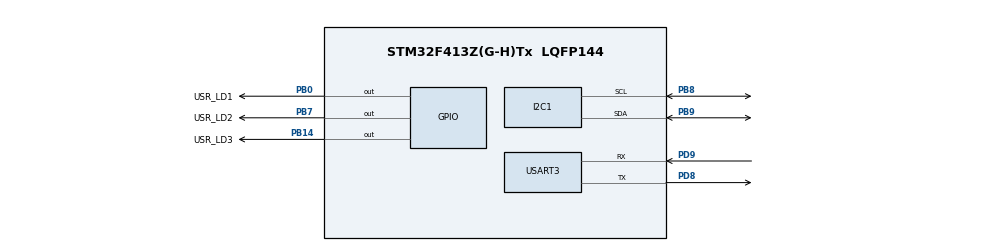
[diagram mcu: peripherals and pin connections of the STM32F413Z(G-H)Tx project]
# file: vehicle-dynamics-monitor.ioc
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Mcu.Family=STM32F4
Mcu.Name=STM32F413Z(G-H)Tx
Mcu.Package=LQFP144
NVIC.PriorityGroup=NVIC_PRIORITYGROUP_4
PB0.GPIO_Label=USR_LD1
PB0.Signal=GPIO_Output
PB14.GPIO_Label=USR_LD3
PB14.Signal=GPIO_Output
PB7.GPIO_Label=USR_LD2
PB7.Signal=GPIO_Output
PB8.Mode=I2C
PB8.Signal=I2C1_SCL
PB9.Mode=I2C
PB9.Signal=I2C1_SDA
PD8.Mode=Asynchronous
PD8.Signal=USART3_TX
PD9.Mode=Asynchronous
PD9.Signal=USART3_RX
ProjectManager.HeapSize=0x200
ProjectManager.StackSize=0x400
ProjectManager.TargetToolchain=CMake
RCC.CortexFreq_Value=16000000
RCC.USBFreq_Value=96000000
RCC.VCOOutputFreq_Value=192000000
USART3.VirtualMode=VM_ASYNC
board=custom

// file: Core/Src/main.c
/* USER CODE BEGIN Header */
/**
  ******************************************************************************
  * @file           : main.c
  * @brief          : Main program body
  ******************************************************************************
  * @attention
  *
  * Copyright (c) 2026 STMicroelectronics.
  * All rights reserved.
  *
  * This software is licensed under terms that can be found in the LICENSE file
  * in the root directory of this software component.
  * If no LICENSE file comes with this software, it is provided AS-IS.
  *
  ******************************************************************************
  */
/* USER CODE END Header */
#include "main.h"

/* USER CODE BEGIN Includes */
#include "mpu6050.h"
#include "vehicle_dynamics.h"
#include "uart_logger.h"
#include <stdio.h>
#include <string.h>

/* USER CODE END Includes */

I2C_HandleTypeDef hi2c1;

UART_HandleTypeDef huart3;

void SystemClock_Config(void);
static void MX_GPIO_Init(void);
static void MX_I2C1_Init(void);
static void MX_USART3_UART_Init(void);

/* USER CODE BEGIN 0 */
/* Integration layer: mpu6050 (sensor HAL) → vehicle_dynamics (pure logic) → uart_logger (output) */
/* USER CODE END 0 */

int main(void)
{

  /* MCU Configuration--------------------------------------------------------*/

  /* Reset of all peripherals, Initializes the Flash interface and the Systick. */
  HAL_Init();

  /* Configure the system clock */
  SystemClock_Config();

  /* Initialize all configured peripherals */
  MX_GPIO_Init();
  MX_I2C1_Init();
  MX_USART3_UART_Init();
  /* USER CODE BEGIN 2 */
  HAL_StatusTypeDef mpu_status;
  uint32_t last_mpu_read = 0;
  DebounceState debounce_state = {EVENT_NONE, 0U};

  mpu_status = mpu6050_wake(&hi2c1);
  if (mpu_status != HAL_OK)
  {
      uint32_t err = HAL_I2C_GetError(&hi2c1);
      char msg[48];
      // char *msg = "MPU6050: wake FAILED\r\n";
      snprintf(msg, sizeof(msg), "MPU6050: wake FAILED err=0x%02lX\r\n", err);
      HAL_UART_Transmit(&huart3, (uint8_t *)msg, strlen(msg), HAL_MAX_DELAY);
  }

  HAL_Delay(100U); /* allow sensor to stabilise after wake */

  mpu_status = mpu6050_verify_identity(&hi2c1);
  if (mpu_status == HAL_OK)
  {
      char *msg = "MPU6050: WHO_AM_I OK (0x68)\r\n";
      HAL_UART_Transmit(&huart3, (uint8_t *)msg, strlen(msg), HAL_MAX_DELAY);
  }
  else
  {
      char *msg = "MPU6050: WHO_AM_I FAILED\r\n";
      HAL_UART_Transmit(&huart3, (uint8_t *)msg, strlen(msg), HAL_MAX_DELAY);
  }

  mpu6050_configure_accel_range(&hi2c1);   /* ACCEL_CONFIG: ±4g */
  mpu6050_configure_sample_rate(&hi2c1, MPU6050_SMPLRT_100HZ); /* 100 Hz */

  /* USER CODE END 2 */

  /* Infinite loop */
  while (1)
  {
      uint8_t raw[MPU6050_ACCEL_RAW_BYTES] = {0U};

      if((HAL_GetTick() - last_mpu_read) >= 1000U)
      {
        mpu_status = mpu6050_read_accel_raw(&hi2c1, raw, sizeof(raw));
        if (mpu_status == HAL_OK)
        {
            /* x=longitudinal (fwd/back), y=lateral (left/right), z=vertical */
            float x_g = raw_to_gforce(reconstruct_raw_value(raw[0], raw[1]), MPU6050_SENSITIVITY_4G);
            float y_g = raw_to_gforce(reconstruct_raw_value(raw[2], raw[3]), MPU6050_SENSITIVITY_4G);
            float z_g = raw_to_gforce(reconstruct_raw_value(raw[4], raw[5]), MPU6050_SENSITIVITY_4G);

            uart_log_accel(&huart3, x_g, y_g, z_g);

            VehicleEvent raw_event     = evaluate_dynamics(x_g, y_g, z_g);
            VehicleEvent confirm_event = debounce_event(&debounce_state, raw_event, DEBOUNCE_HOLD_COUNT);
            uart_log_event(&huart3, confirm_event);
        }
        else
        {
            char err_buf[] = "ACCEL READ FAILED\r\n";
            HAL_UART_Transmit(&huart3, (uint8_t *)err_buf, sizeof(err_buf) - 1U, HAL_MAX_DELAY);
        }

        HAL_GPIO_TogglePin(USR_LD1_GPIO_Port, USR_LD1_Pin);
        last_mpu_read = HAL_GetTick();
      }
  }
}

void SystemClock_Config(void)
{
  RCC_OscInitTypeDef RCC_OscInitStruct = {0};
  RCC_ClkInitTypeDef RCC_ClkInitStruct = {0};

  /** Configure the main internal regulator output voltage
  */
  __HAL_RCC_PWR_CLK_ENABLE();
  __HAL_PWR_VOLTAGESCALING_CONFIG(PWR_REGULATOR_VOLTAGE_SCALE1);

  /** Initializes the RCC Oscillators according to the specified parameters
  * in the RCC_OscInitTypeDef structure.
  */
  RCC_OscInitStruct.OscillatorType = RCC_OSCILLATORTYPE_HSI;
  RCC_OscInitStruct.HSIState = RCC_HSI_ON;
  RCC_OscInitStruct.HSICalibrationValue = RCC_HSICALIBRATION_DEFAULT;
  RCC_OscInitStruct.PLL.PLLState = RCC_PLL_NONE;
  if (HAL_RCC_OscConfig(&RCC_OscInitStruct) != HAL_OK)
  {
    Error_Handler();
  }

  /** Initializes the CPU, AHB and APB buses clocks
  */
  RCC_ClkInitStruct.ClockType = RCC_CLOCKTYPE_HCLK|RCC_CLOCKTYPE_SYSCLK
                              |RCC_CLOCKTYPE_PCLK1|RCC_CLOCKTYPE_PCLK2;
  RCC_ClkInitStruct.SYSCLKSource = RCC_SYSCLKSOURCE_HSI;
  RCC_ClkInitStruct.AHBCLKDivider = RCC_SYSCLK_DIV1;
  RCC_ClkInitStruct.APB1CLKDivider = RCC_HCLK_DIV1;
  RCC_ClkInitStruct.APB2CLKDivider = RCC_HCLK_DIV1;

  if (HAL_RCC_ClockConfig(&RCC_ClkInitStruct, FLASH_LATENCY_0) != HAL_OK)
  {
    Error_Handler();
  }
}

static void MX_I2C1_Init(void)
{

  hi2c1.Instance = I2C1;
  hi2c1.Init.ClockSpeed = 100000;
  hi2c1.Init.DutyCycle = I2C_DUTYCYCLE_2;
  hi2c1.Init.OwnAddress1 = 0;
  hi2c1.Init.AddressingMode = I2C_ADDRESSINGMODE_7BIT;
  hi2c1.Init.DualAddressMode = I2C_DUALADDRESS_DISABLE;
  hi2c1.Init.OwnAddress2 = 0;
  hi2c1.Init.GeneralCallMode = I2C_GENERALCALL_DISABLE;
  hi2c1.Init.NoStretchMode = I2C_NOSTRETCH_DISABLE;
  if (HAL_I2C_Init(&hi2c1) != HAL_OK)
  {
    Error_Handler();
  }

}

static void MX_USART3_UART_Init(void)
{

  huart3.Instance = USART3;
  huart3.Init.BaudRate = 115200;
  huart3.Init.WordLength = UART_WORDLENGTH_8B;
  huart3.Init.StopBits = UART_STOPBITS_1;
  huart3.Init.Parity = UART_PARITY_NONE;
  huart3.Init.Mode = UART_MODE_TX_RX;
  huart3.Init.HwFlowCtl = UART_HWCONTROL_NONE;
  huart3.Init.OverSampling = UART_OVERSAMPLING_16;
  if (HAL_UART_Init(&huart3) != HAL_OK)
  {
    Error_Handler();
  }

}

static void MX_GPIO_Init(void)
{
  GPIO_InitTypeDef GPIO_InitStruct = {0};

  /* GPIO Ports Clock Enable */
  __HAL_RCC_GPIOB_CLK_ENABLE();
  __HAL_RCC_GPIOD_CLK_ENABLE();

  /*Configure GPIO pin Output Level */
  HAL_GPIO_WritePin(GPIOB, USR_LD1_Pin|USR_LD3_Pin|USR_LD2_Pin, GPIO_PIN_RESET);

  /*Configure GPIO pins : USR_LD1_Pin USR_LD3_Pin USR_LD2_Pin */
  GPIO_InitStruct.Pin = USR_LD1_Pin|USR_LD3_Pin|USR_LD2_Pin;
  GPIO_InitStruct.Mode = GPIO_MODE_OUTPUT_PP;
  GPIO_InitStruct.Pull = GPIO_NOPULL;
  GPIO_InitStruct.Speed = GPIO_SPEED_FREQ_LOW;
  HAL_GPIO_Init(GPIOB, &GPIO_InitStruct);

}

void Error_Handler(void)
{
  __disable_irq();
  while (1)
  {
  }
}
